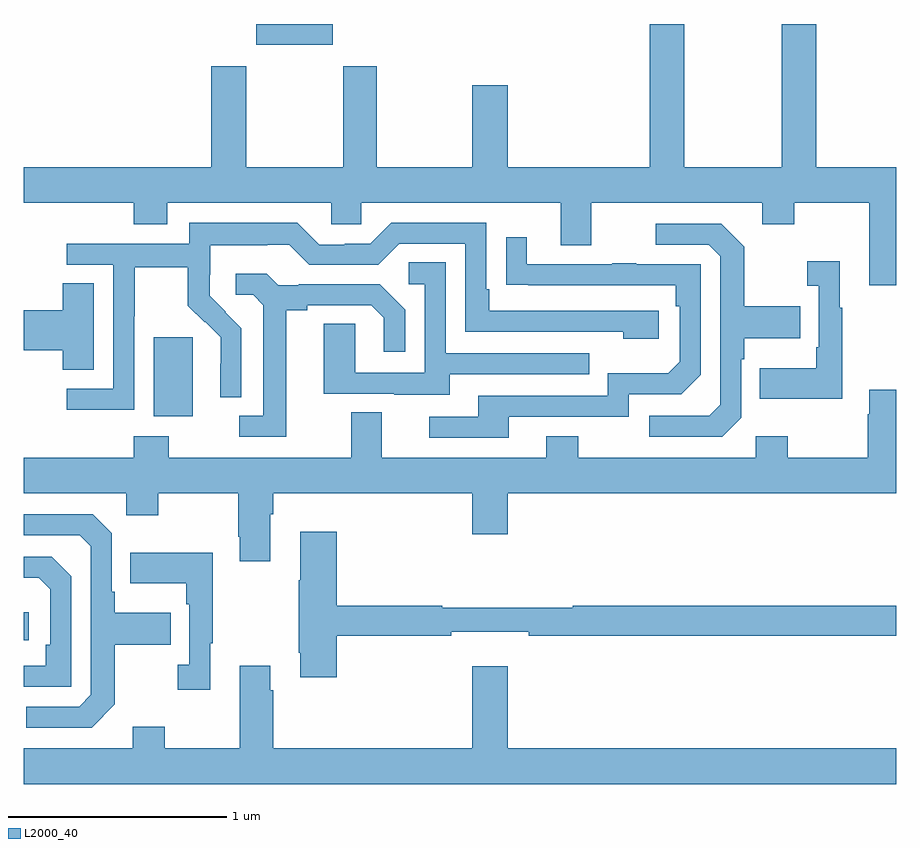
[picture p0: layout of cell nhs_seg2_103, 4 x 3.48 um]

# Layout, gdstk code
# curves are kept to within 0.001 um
import gdstk
lib = gdstk.Library(unit=1e-6, precision=1e-09)
def R(c, l, rs):  # rectangles x0, y0, x1, y1
    for r in rs: c.add(gdstk.rectangle(r[:2], r[2:], *l))
def P(c, l, *ps):  # polygons
    for p in ps: c.add(gdstk.Polygon(p, *l))
L2000_40 = (2000, 40)

nhs_seg2_103 = lib.new_cell('nhs_seg2_103')
R(nhs_seg2_103, L2000_40, [(115,634.974,115.024,635.104), (115.595,636.002,115.774,636.363), (116.066,637.706,116.416,637.8)])
P(nhs_seg2_103, L2000_40, [(119,637.144),(118.634,637.144),(118.634,637.8),(118.474,637.8),(118.474,637.144),(118.029,637.144),(118.029,637.8),(117.869,637.8),(117.869,637.144),(117.22,637.144),(117.22,637.519),(117.056,637.519),(117.056,637.144),(116.619,637.144),(116.619,637.606),(116.464,637.606),(116.464,637.144),(116.019,637.144),(116.019,637.606),(115.859,637.606),(115.859,637.144),(115,637.144),(115,636.98),(115.505,636.98),(115.505,636.881),(115.657,636.881),(115.657,636.98),(116.409,636.98),(116.409,636.882),(116.547,636.882),(116.547,636.98),(117.461,636.98),(117.461,636.786),(117.601,636.786),(117.601,636.98),(118.385,636.98),(118.385,636.881),(118.533,636.881),(118.533,636.98),(118.877,636.98),(118.877,636.603),(119,636.603)],
  [(115.506,636.46),(115.509,636.46),(115.509,636.684),(115.753,636.684),(115.753,636.509),(115.83,636.432),(115.833,636.435),(115.904,636.365),(115.904,636.242),(115.902,636.242),(115.902,636.088),(115.998,636.088),(115.998,636.406),(115.852,636.554),(115.852,636.651),(115.854,636.651),(115.854,636.785),(116.117,636.785),(116.117,636.789),(116.217,636.789),(116.31,636.696),(116.625,636.696),(116.721,636.792),(117.024,636.792),(117.024,636.39),(117.749,636.39),(117.749,636.356),(117.91,636.356),(117.91,636.486),(117.133,636.486),(117.133,636.583),(117.12,636.583),(117.12,636.888),(116.685,636.888),(116.589,636.792),(116.471,636.792),(116.471,636.789),(116.355,636.789),(116.255,636.889),(115.758,636.889),(115.758,636.792),(115.197,636.792),(115.197,636.696),(115.41,636.696),(115.41,636.129),(115.197,636.129),(115.197,636.031),(115.506,636.031)],
  [(118.29,635.994),(118.29,636.263),(118.303,636.263),(118.303,636.359),(118.559,636.359),(118.559,636.507),(118.303,636.507),(118.303,636.779),(118.197,636.885),(117.897,636.885),(117.897,636.789),(118.14,636.789),(118.194,636.735),(118.194,636.054),(118.143,636.003),(117.867,636.003),(117.867,635.907),(118.203,635.907)],
  [(117.223,636),(117.774,636),(117.774,636.102),(118.014,636.102),(118.104,636.192),(118.104,636.699),(117.809,636.699),(117.809,636.704),(117.697,636.704),(117.697,636.699),(117.307,636.699),(117.307,636.823),(117.211,636.823),(117.211,636.604),(117.988,636.603),(117.988,636.506),(118.008,636.506),(118.008,636.252),(117.955,636.199),(117.678,636.199),(117.678,636.096),(117.083,636.096),(117.083,636),(116.859,636),(116.859,635.904),(117.223,635.904)],
  [(118.753,636.499),(118.741,636.499),(118.741,636.712),(118.593,636.712),(118.593,636.599),(118.644,636.599),(118.644,636.319),(118.632,636.319),(118.632,636.223),(118.375,636.223),(118.375,636.083),(118.753,636.083)],
  [(116.953,636.195),(117.593,636.195),(117.593,636.291),(116.934,636.291),(116.934,636.707),(116.766,636.707),(116.766,636.606),(116.838,636.606),(116.838,636.201),(116.52,636.201),(116.52,636.425),(116.375,636.425),(116.375,636.105),(116.699,636.105),(116.699,636.101),(116.953,636.101)],
  [(116.203,636.488),(116.299,636.488),(116.299,636.51),(116.594,636.51),(116.651,636.453),(116.651,636.297),(116.748,636.297),(116.748,636.49),(116.632,636.606),(116.26,636.606),(116.26,636.603),(116.166,636.603),(116.114,636.655),(115.971,636.655),(115.971,636.558),(116.052,636.558),(116.099,636.511),(116.099,636.003),(115.989,636.003),(115.989,635.907),(116.203,635.907)],
  [(115.321,636.611),(115.178,636.611),(115.178,636.488),(115,636.488),(115,636.305),(115.178,636.305),(115.178,636.214),(115.321,636.214)],
  [(116.131,635.552),(116.144,635.552),(116.144,635.648),(117.056,635.648),(117.056,635.46),(117.22,635.46),(117.22,635.648),(119,635.648),(119,636.124),(118.877,636.124),(118.877,636.011),(118.87,636.011),(118.87,635.812),(118.503,635.812),(118.503,635.911),(118.356,635.911),(118.356,635.812),(117.543,635.812),(117.543,635.911),(117.395,635.911),(117.395,635.812),(116.641,635.812),(116.641,636.02),(116.501,636.02),(116.501,635.812),(115.665,635.812),(115.665,635.911),(115.505,635.911),(115.505,635.812),(115,635.812),(115,635.648),(115.47,635.648),(115.47,635.549),(115.617,635.549),(115.617,635.648),(115.984,635.648),(115.984,635.449),(115.991,635.449),(115.991,635.337),(116.131,635.337)],
  [(115.417,634.681),(115.417,634.954),(115.673,634.954),(115.673,635.101),(115.417,635.101),(115.417,635.197),(115.404,635.197),(115.404,635.466),(115.317,635.553),(115,635.553),(115,635.457),(115.257,635.457),(115.308,635.406),(115.308,634.725),(115.254,634.671),(115.011,634.671),(115.011,634.575),(115.311,634.575)],
  [(116.435,634.996),(116.96,634.996),(116.96,635.015),(117.316,635.015),(117.316,634.996),(119,634.996),(119,635.132),(117.518,635.132),(117.518,635.125),(116.918,635.125),(116.918,635.132),(116.435,635.132),(116.435,635.473),(116.267,635.473),(116.267,635.249),(116.26,635.249),(116.26,634.918),(116.267,634.918),(116.267,634.806),(116.435,634.806)],
  [(115.855,634.961),(115.867,634.961),(115.867,635.377),(115.489,635.377),(115.489,635.237),(115.746,635.237),(115.746,635.141),(115.758,635.141),(115.758,634.862),(115.707,634.862),(115.707,634.749),(115.855,634.749)],
  [(115.218,635.268),(115.128,635.358),(115,635.358),(115,635.261),(115.069,635.261),(115.122,635.208),(115.122,634.954),(115.102,634.954),(115.102,634.857),(115,634.857),(115,634.761),(115.218,634.761)],
  [(119,634.48),(117.22,634.48),(117.22,634.855),(117.056,634.855),(117.056,634.48),(116.144,634.48),(116.144,634.745),(116.131,634.745),(116.131,634.858),(115.991,634.858),(115.991,634.48),(115.647,634.48),(115.647,634.579),(115.499,634.579),(115.499,634.48),(115,634.48),(115,634.316),(119,634.316)])

lib.write_gds('nhs_seg2_103.gds')
